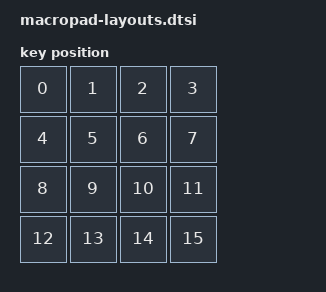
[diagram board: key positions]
#include <physical_layouts.dtsi>

/ {
    default_layout: default_layout {
        compatible = "zmk,physical-layout";
        display-name = "Default Layout";
        transform = <&default_transform>;
        kscan = <&kscan>;

        keys  //                     w   h    x    y     rot    rx    ry
            = <&key_physical_attrs 100 100    0    0       0     0     0>
            , <&key_physical_attrs 100 100  100    0       0     0     0>
            , <&key_physical_attrs 100 100  200    0       0     0     0>
            , <&key_physical_attrs 100 100  300    0       0     0     0>
            , <&key_physical_attrs 100 100    0  100       0     0     0>
            , <&key_physical_attrs 100 100  100  100       0     0     0>
            , <&key_physical_attrs 100 100  200  100       0     0     0>
            , <&key_physical_attrs 100 100  300  100       0     0     0>
            , <&key_physical_attrs 100 100    0  200       0     0     0>
            , <&key_physical_attrs 100 100  100  200       0     0     0>
            , <&key_physical_attrs 100 100  200  200       0     0     0>
            , <&key_physical_attrs 100 100  300  200       0     0     0>
            , <&key_physical_attrs 100 100    0  300       0     0     0>
            , <&key_physical_attrs 100 100  100  300       0     0     0>
            , <&key_physical_attrs 100 100  200  300       0     0     0>
            , <&key_physical_attrs 100 100  300  300       0     0     0>
            ;
    };
};
